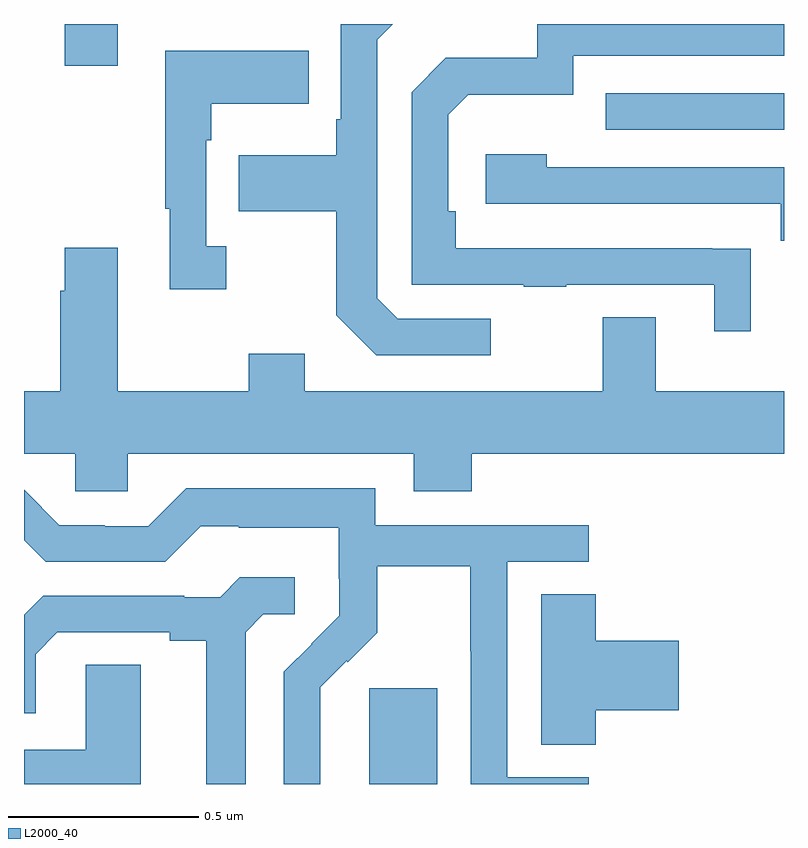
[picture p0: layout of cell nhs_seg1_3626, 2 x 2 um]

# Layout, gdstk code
import gdstk
lib = gdstk.Library(unit=1e-6, precision=1e-09)
def R(c, l, rs):  # rectangles x0, y0, x1, y1
    for r in rs: c.add(gdstk.rectangle(r[:2], r[2:], *l))
def P(c, l, *ps):  # polygons
    for p in ps: c.add(gdstk.Polygon(p, *l))
L2000_40 = (2000, 40)

nhs_seg1_3626 = lib.new_cell('nhs_seg1_3626')
R(nhs_seg1_3626, L2000_40, [(156.908,548.199,157.087,548.451), (157.531,549.921,158,550.017), (156.107,550.089,156.247,550.199)])
P(nhs_seg1_3626, L2000_40, [(157.228,549.423),(156.984,549.423),(156.93,549.477),(156.93,550.158),(156.971,550.199),(156.834,550.199),(156.834,549.949),(156.822,549.949),(156.822,549.853),(156.565,549.853),(156.565,549.706),(156.822,549.706),(156.822,549.433),(156.927,549.327),(157.228,549.327)],
  [(157.913,549.608),(157.811,549.608),(157.811,549.609),(157.136,549.609),(157.136,549.706),(157.116,549.706),(157.116,549.96),(157.169,550.013),(157.446,550.013),(157.446,550.116),(158,550.116),(158,550.199),(157.35,550.199),(157.35,550.11),(157.11,550.11),(157.02,550.02),(157.02,549.513),(157.315,549.513),(157.315,549.508),(157.427,549.508),(157.427,549.513),(157.817,549.513),(157.817,549.39),(157.913,549.39)],
  [(156.532,549.614),(156.48,549.614),(156.48,549.893),(156.493,549.893),(156.493,549.989),(156.749,549.989),(156.749,550.129),(156.372,550.129),(156.372,549.713),(156.383,549.713),(156.383,549.501),(156.532,549.501)],
  [(158,549.822),(157.376,549.822),(157.376,549.856),(157.215,549.856),(157.215,549.726),(157.991,549.726),(157.991,549.629),(158,549.629)],
  [(157.178,549.068),(158,549.068),(158,549.232),(157.663,549.232),(157.663,549.427),(157.523,549.427),(157.523,549.232),(156.739,549.232),(156.739,549.331),(156.592,549.331),(156.592,549.232),(156.247,549.232),(156.247,549.61),(156.107,549.61),(156.107,549.497),(156.095,549.497),(156.095,549.232),(156,549.232),(156,549.068),(156.135,549.068),(156.135,548.97),(156.273,548.97),(156.273,549.068),(157.025,549.068),(157.025,548.969),(157.178,548.969)],
  [(156.78,548.33),(156.779,548.33),(156.779,548.453),(156.849,548.523),(156.852,548.52),(156.929,548.597),(156.929,548.772),(157.174,548.772),(157.174,548.548),(157.176,548.548),(157.176,548.199),(157.486,548.199),(157.486,548.217),(157.272,548.217),(157.272,548.784),(157.486,548.784),(157.486,548.88),(156.924,548.88),(156.924,548.977),(156.427,548.977),(156.327,548.877),(156.212,548.877),(156.212,548.88),(156.093,548.88),(156,548.973),(156,548.841),(156.057,548.784),(156.372,548.784),(156.465,548.877),(156.565,548.877),(156.565,548.873),(156.828,548.873),(156.828,548.739),(156.83,548.739),(156.83,548.642),(156.756,548.568),(156.757,548.567),(156.684,548.494),(156.684,548.199),(156.78,548.199)],
  [(156.583,548.599),(156.63,548.646),(156.712,548.646),(156.712,548.743),(156.568,548.743),(156.516,548.691),(156.422,548.691),(156.422,548.694),(156.05,548.694),(156,548.644),(156,548.385),(156.031,548.385),(156.031,548.541),(156.088,548.598),(156.383,548.598),(156.383,548.576),(156.479,548.576),(156.479,548.199),(156.583,548.199)],
  [(157.505,548.393),(157.723,548.393),(157.723,548.576),(157.505,548.576),(157.505,548.699),(157.361,548.699),(157.361,548.302),(157.505,548.302)],
  [(156.307,548.513),(156.162,548.513),(156.162,548.289),(156,548.289),(156,548.199),(156.307,548.199)])

lib.write_gds('nhs_seg1_3626.gds')
